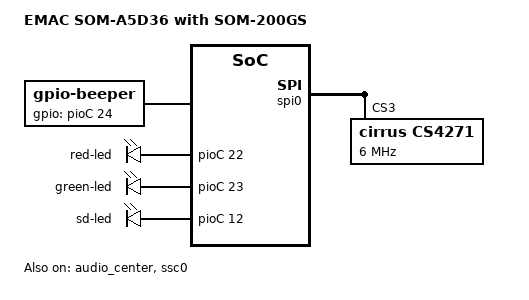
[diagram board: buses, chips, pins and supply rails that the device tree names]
// SPDX-License-Identifier: GPL-2.0-or-later
/*
 * som-a5d36-200gs.dts - Device Tree file for the SOM-A5D36 w/ a 200gs EMAC Carrier.
 *
 * Copyright (C) 2023 EMAC Inc.
 *
 */

/dts-v1/;
#include "som-a5d36-2xx.dts"

/ {
	model = "EMAC SOM-A5D36 with SOM-200GS";
	
	beeper {
		compatible = "gpio-beeper";
		gpios = <&pioC 24 GPIO_ACTIVE_HIGH>;
		status = "okay";
	};
	leds {
		red-led {
			label = "red-led";
			gpios = <&pioC 22 GPIO_ACTIVE_HIGH>;
			default-state = "on";
		};
		green-led {
			label = "green-led";
			gpios = <&pioC 23 GPIO_ACTIVE_HIGH>;
			default-state = "on";
		};
		sd-led {
			label = "sd-led";
			gpios = <&pioC 12 GPIO_ACTIVE_HIGH>;
			default-state = "disk-activity";
			trigger-sources = <&mmc1>;
		};
	};
};

&lcd_backlight {
	power-supply = <&ldo_3v3_vcc>;
	enable-gpios = <&pioD 5 GPIO_ACTIVE_HIGH>;
};

&audio_center {
    status = "okay";
	simple-audio-card,name = "cs4271";
    simple-audio-card,bitclock-master = <&codec_master>;
	simple-audio-card,frame-master = <&codec_master>;
    codec_master: simple-audio-card,codec {
        sound-dai = <&cs4271>;
        clocks = <&audio_mclk>;
        frame-master;
		bitclock-master;
    };
};

&ssc0 {
	#sound-dai-cells = <0x00>;
    status = "okay";
};

&spi0 {
	cs4271: cs4271@3 {
        #sound-dai-cells = <0>;
		compatible = "cirrus,cs4271";
		reg = <0x3>;
		spi-max-frequency = <6000000>;
        status = "okay";
	};
};
